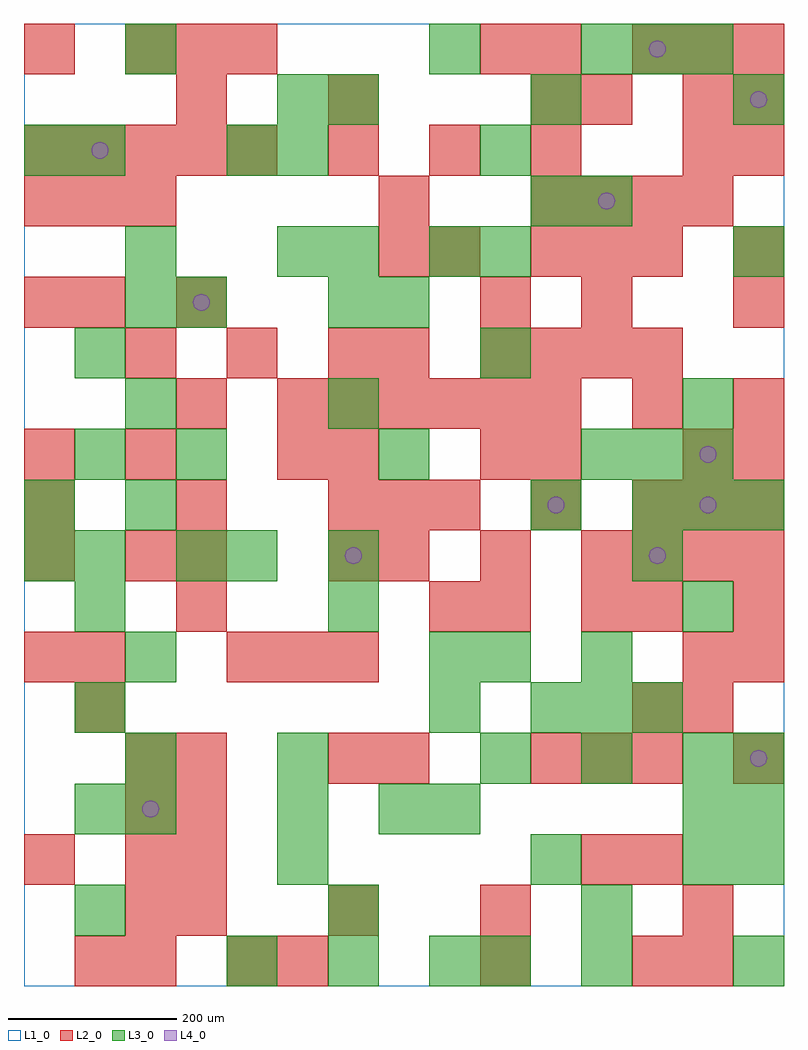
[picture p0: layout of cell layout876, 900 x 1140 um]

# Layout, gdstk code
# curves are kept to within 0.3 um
import gdstk
lib = gdstk.Library(unit=1e-6, precision=1e-09)
def R(c, l, rs):  # rectangles x0, y0, x1, y1
    for r in rs: c.add(gdstk.rectangle(r[:2], r[2:], *l))
def A(c, l, x, y, w, h, nx, ny, dx, dy):  # array of equal rectangles
    R(c, l, [(x+i*dx, y+j*dy, x+i*dx+w, y+j*dy+h) for i in range(nx) for j in range(ny)])
def P(c, l, *ps):  # polygons
    for p in ps: c.add(gdstk.Polygon(p, *l))
L1_0 = (1, 0)
L2_0 = (2, 0)
L3_0 = (3, 0)
L4_0 = (4, 0)

layout876 = lib.new_cell('layout876')
R(layout876, L1_0, [(0,0,900,1140)])
A(layout876, L2_0, 120, 0, 60, 60, 1, 5, 0, 60)
A(layout876, L2_0, 180, 60, 60, 60, 3, 1, 180, 0)
A(layout876, L2_0, 180, 120, 60, 60, 1, 3, 0, 60)
A(layout876, L2_0, 600, 240, 60, 60, 3, 2, 60, 600)
A(layout876, L2_0, 0, 360, 60, 60, 1, 3, 0, 120)
A(layout876, L2_0, 240, 360, 60, 60, 3, 1, 60, 0)
A(layout876, L2_0, 540, 420, 60, 60, 1, 3, 0, 180)
A(layout876, L2_0, 420, 480, 60, 60, 3, 1, 120, 0)
A(layout876, L2_0, 720, 480, 60, 60, 3, 2, 60, 600)
A(layout876, L2_0, 0, 540, 60, 60, 3, 1, 180, 0)
A(layout876, L2_0, 480, 540, 60, 60, 3, 1, 120, 0)
A(layout876, L2_0, 840, 540, 60, 60, 1, 3, 0, 60)
A(layout876, L2_0, 300, 660, 60, 60, 6, 1, 60, 0)
A(layout876, L2_0, 120, 720, 60, 60, 3, 1, 120, 0)
A(layout876, L2_0, 540, 720, 60, 60, 4, 1, 60, 0)
A(layout876, L2_0, 0, 900, 60, 60, 3, 1, 60, 0)
A(layout876, L2_0, 600, 900, 60, 60, 4, 1, 60, 0)
A(layout876, L2_0, 0, 960, 60, 60, 5, 1, 60, 0)
A(layout876, L2_0, 360, 960, 60, 60, 3, 1, 120, 0)
A(layout876, L2_0, 120, 1080, 60, 60, 3, 1, 60, 0)
R(layout876, L2_0, [(60,0,120,60), (240,0,300,60), (300,0,360,60), (540,0,600,60), (720,0,780,60), (780,0,840,60), (780,60,840,120), (0,120,60,180), (660,120,720,180), (720,120,780,180), (360,240,420,300), (420,240,480,300), (840,240,900,300), (60,300,120,360), (720,300,780,360), (780,300,840,360), (60,360,120,420), (780,360,840,420), (840,360,900,420), (180,420,240,480), (480,420,540,480), (660,420,720,480), (720,420,780,480), (840,420,900,480), (120,480,180,540), (180,480,240,540), (360,480,420,540), (420,540,480,600), (780,540,840,600), (120,600,180,660), (300,600,360,660), (360,600,420,660), (600,600,660,660), (780,600,840,660), (180,660,240,720), (720,660,780,720), (420,720,480,780), (0,780,60,840), (60,780,120,840), (180,780,240,840), (660,780,720,840), (840,780,900,840), (420,840,480,900), (480,840,540,900), (840,840,900,900), (420,900,480,960), (780,960,840,1020), (840,960,900,1020), (180,1020,240,1080), (360,1020,420,1080), (600,1020,660,1080), (660,1020,720,1080), (780,1020,840,1080), (840,1020,900,1080), (0,1080,60,1140), (540,1080,600,1140), (600,1080,660,1140)])
A(layout876, L3_0, 240, 0, 60, 60, 3, 1, 120, 0)
A(layout876, L3_0, 540, 0, 60, 60, 1, 3, 0, 360)
A(layout876, L3_0, 60, 60, 60, 60, 3, 1, 300, 0)
A(layout876, L3_0, 300, 120, 60, 60, 1, 3, 0, 60)
A(layout876, L3_0, 840, 120, 60, 60, 1, 3, 0, 60)
A(layout876, L3_0, 60, 180, 60, 60, 1, 3, 0, 120)
A(layout876, L3_0, 540, 240, 60, 60, 3, 1, 120, 0)
A(layout876, L3_0, 600, 300, 60, 60, 3, 1, 60, 0)
A(layout876, L3_0, 60, 480, 60, 60, 1, 3, 0, 120)
A(layout876, L3_0, 120, 540, 60, 60, 1, 3, 0, 120)
A(layout876, L3_0, 720, 540, 60, 60, 3, 1, 60, 0)
A(layout876, L3_0, 180, 600, 60, 60, 3, 1, 240, 0)
A(layout876, L3_0, 360, 1020, 60, 60, 3, 1, 240, 0)
A(layout876, L3_0, 660, 1080, 60, 60, 3, 1, 60, 0)
R(layout876, L3_0, [(660,0,720,60), (840,0,900,60), (600,120,660,180), (780,120,840,180), (120,180,180,240), (420,180,480,240), (480,180,540,240), (780,180,840,240), (120,240,180,300), (480,300,540,360), (120,360,180,420), (480,360,540,420), (660,360,720,420), (360,420,420,480), (780,420,840,480), (0,480,60,540), (180,480,240,540), (240,480,300,540), (360,480,420,540), (720,480,780,540), (0,540,60,600), (600,540,660,600), (720,600,780,660), (780,600,840,660), (360,660,420,720), (780,660,840,720), (180,780,240,840), (360,780,420,840), (420,780,480,840), (120,840,180,900), (300,840,360,900), (360,840,420,900), (480,840,540,900), (540,840,600,900), (840,840,900,900), (600,900,660,960), (660,900,720,960), (0,960,60,1020), (60,960,120,1020), (240,960,300,1020), (300,960,360,1020), (540,960,600,1020), (300,1020,360,1080), (120,1080,180,1140), (480,1080,540,1140)])
P(layout876, L4_0, [(100,990),(99.239,993.827),(97.071,997.071),(93.827,999.239),(90,1000),(86.173,999.239),(82.929,997.071),(80.761,993.827),(80,990),(80.761,986.173),(82.929,982.929),(86.173,980.761),(90,980),(93.827,980.761),(97.071,982.929),(99.239,986.173)],
  [(160,210),(159.239,213.827),(157.071,217.071),(153.827,219.239),(150,220),(146.173,219.239),(142.929,217.071),(140.761,213.827),(140,210),(140.761,206.173),(142.929,202.929),(146.173,200.761),(150,200),(153.827,200.761),(157.071,202.929),(159.239,206.173)],
  [(220,810),(219.239,813.827),(217.071,817.071),(213.827,819.239),(210,820),(206.173,819.239),(202.929,817.071),(200.761,813.827),(200,810),(200.761,806.173),(202.929,802.929),(206.173,800.761),(210,800),(213.827,800.761),(217.071,802.929),(219.239,806.173)],
  [(400,510),(399.239,513.827),(397.071,517.071),(393.827,519.239),(390,520),(386.173,519.239),(382.929,517.071),(380.761,513.827),(380,510),(380.761,506.173),(382.929,502.929),(386.173,500.761),(390,500),(393.827,500.761),(397.071,502.929),(399.239,506.173)],
  [(640,570),(639.239,573.827),(637.071,577.071),(633.827,579.239),(630,580),(626.173,579.239),(622.929,577.071),(620.761,573.827),(620,570),(620.761,566.173),(622.929,562.929),(626.173,560.761),(630,560),(633.827,560.761),(637.071,562.929),(639.239,566.173)],
  [(700,930),(699.239,933.827),(697.071,937.071),(693.827,939.239),(690,940),(686.173,939.239),(682.929,937.071),(680.761,933.827),(680,930),(680.761,926.173),(682.929,922.929),(686.173,920.761),(690,920),(693.827,920.761),(697.071,922.929),(699.239,926.173)],
  [(760,510),(759.239,513.827),(757.071,517.071),(753.827,519.239),(750,520),(746.173,519.239),(742.929,517.071),(740.761,513.827),(740,510),(740.761,506.173),(742.929,502.929),(746.173,500.761),(750,500),(753.827,500.761),(757.071,502.929),(759.239,506.173)],
  [(760,1110),(759.239,1113.827),(757.071,1117.071),(753.827,1119.239),(750,1120),(746.173,1119.239),(742.929,1117.071),(740.761,1113.827),(740,1110),(740.761,1106.173),(742.929,1102.929),(746.173,1100.761),(750,1100),(753.827,1100.761),(757.071,1102.929),(759.239,1106.173)],
  [(820,570),(819.239,573.827),(817.071,577.071),(813.827,579.239),(810,580),(806.173,579.239),(802.929,577.071),(800.761,573.827),(800,570),(800.761,566.173),(802.929,562.929),(806.173,560.761),(810,560),(813.827,560.761),(817.071,562.929),(819.239,566.173)],
  [(820,630),(819.239,633.827),(817.071,637.071),(813.827,639.239),(810,640),(806.173,639.239),(802.929,637.071),(800.761,633.827),(800,630),(800.761,626.173),(802.929,622.929),(806.173,620.761),(810,620),(813.827,620.761),(817.071,622.929),(819.239,626.173)],
  [(880,270),(879.239,273.827),(877.071,277.071),(873.827,279.239),(870,280),(866.173,279.239),(862.929,277.071),(860.761,273.827),(860,270),(860.761,266.173),(862.929,262.929),(866.173,260.761),(870,260),(873.827,260.761),(877.071,262.929),(879.239,266.173)],
  [(880,1050),(879.239,1053.827),(877.071,1057.071),(873.827,1059.239),(870,1060),(866.173,1059.239),(862.929,1057.071),(860.761,1053.827),(860,1050),(860.761,1046.173),(862.929,1042.929),(866.173,1040.761),(870,1040),(873.827,1040.761),(877.071,1042.929),(879.239,1046.173)])

lib.write_gds('layout876.gds')
